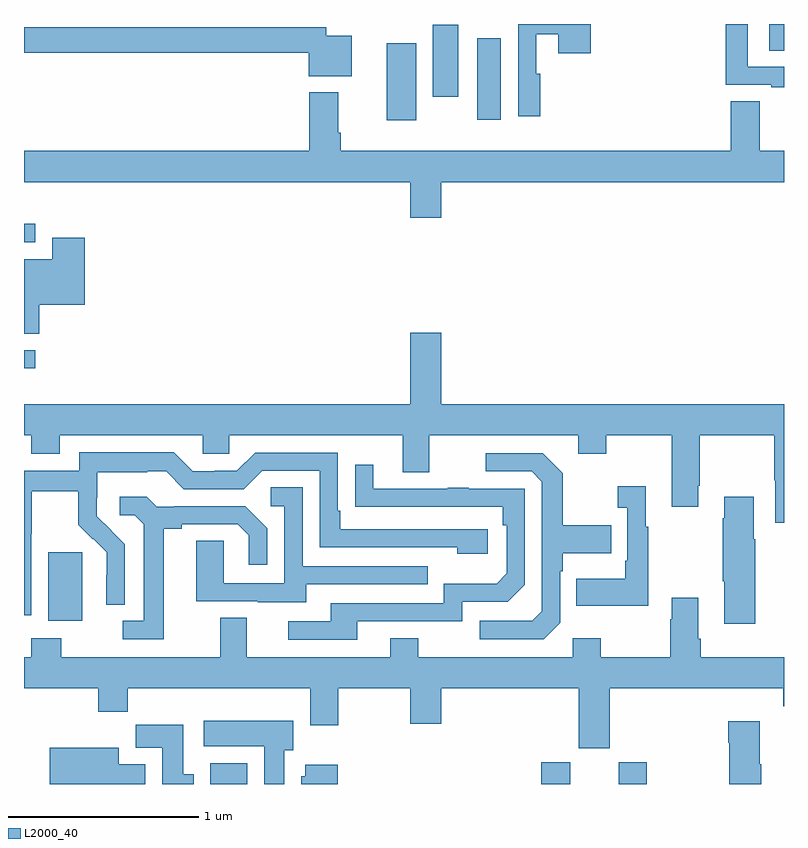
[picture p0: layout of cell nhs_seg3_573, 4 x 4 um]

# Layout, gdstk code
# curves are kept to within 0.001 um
import gdstk
lib = gdstk.Library(unit=1e-6, precision=1e-09)
def R(c, l, rs):  # rectangles x0, y0, x1, y1
    for r in rs: c.add(gdstk.rectangle(r[:2], r[2:], *l))
def P(c, l, *ps):  # polygons
    for p in ps: c.add(gdstk.Polygon(p, *l))
L2000_40 = (2000, 40)

nhs_seg3_573 = lib.new_cell('nhs_seg3_573')
R(nhs_seg3_573, L2000_40, [(139.979,712.4,140.176,712.51), (141.722,712.4,141.874,712.515), (142.13,712.4,142.278,712.515), (139.127,713.258,139.306,713.619), (139,714.588,139.06,714.684), (139,715.251,139.06,715.35), (140.909,715.893,141.064,716.299), (141.386,715.896,141.508,716.326), (141.152,716.016,141.286,716.396), (142.922,716.26,143,716.4)])
P(nhs_seg3_573, L2000_40, [(141.716,716.138),(141.696,716.138),(141.696,716.345),(141.812,716.345),(141.812,716.247),(141.983,716.247),(141.983,716.4),(141.6,716.4),(141.6,715.914),(141.716,715.914)],
  [(143,716.175),(142.809,716.175),(142.809,716.4),(142.693,716.4),(142.693,716.079),(142.934,716.079),(142.934,716.067),(143,716.067)],
  [(140.725,716.338),(140.592,716.338),(140.592,716.384),(139,716.384),(139,716.248),(140.498,716.248),(140.498,716.126),(140.725,716.126)],
  [(141.196,715.568),(143,715.568),(143,715.732),(142.873,715.732),(142.873,715.994),(142.721,715.994),(142.721,715.732),(140.666,715.732),(140.666,715.828),(140.653,715.828),(140.653,716.041),(140.501,716.041),(140.501,715.732),(139,715.732),(139,715.568),(141.032,715.568),(141.032,715.38),(141.196,715.38)],
  [(139.079,714.923),(139.319,714.923),(139.319,715.276),(139.148,715.276),(139.148,715.162),(139,715.162),(139,714.769),(139.079,714.769)],
  [(143,714.4),(141.196,714.4),(141.196,714.775),(141.032,714.775),(141.032,714.4),(139,714.4),(139,714.236),(139.037,714.236),(139.037,714.137),(139.189,714.137),(139.189,714.236),(139.941,714.236),(139.941,714.138),(140.079,714.138),(140.079,714.236),(140.993,714.236),(140.993,714.042),(141.133,714.042),(141.133,714.236),(141.917,714.236),(141.917,714.137),(142.065,714.137),(142.065,714.236),(142.409,714.236),(142.409,713.859),(142.549,713.859),(142.549,713.971),(142.557,713.971),(142.557,714.236),(142.948,714.236),(142.948,713.998),(142.955,713.998),(142.955,713.775),(143,713.775)],
  [(139.038,713.716),(139.041,713.716),(139.041,713.94),(139.285,713.94),(139.285,713.765),(139.362,713.688),(139.365,713.691),(139.436,713.621),(139.436,713.498),(139.434,713.498),(139.434,713.344),(139.53,713.344),(139.53,713.662),(139.384,713.81),(139.384,713.907),(139.386,713.907),(139.386,714.041),(139.649,714.041),(139.649,714.045),(139.749,714.045),(139.842,713.952),(140.157,713.952),(140.253,714.048),(140.556,714.048),(140.556,713.646),(141.281,713.646),(141.281,713.612),(141.442,713.612),(141.442,713.742),(140.665,713.742),(140.665,713.839),(140.652,713.839),(140.652,714.144),(140.217,714.144),(140.121,714.048),(140.003,714.048),(140.003,714.045),(139.887,714.045),(139.787,714.145),(139.29,714.145),(139.29,714.048),(139,714.048),(139,713.287),(139.038,713.287)],
  [(141.822,713.25),(141.822,713.519),(141.835,713.519),(141.835,713.615),(142.091,713.615),(142.091,713.763),(141.835,713.763),(141.835,714.035),(141.729,714.141),(141.429,714.141),(141.429,714.045),(141.672,714.045),(141.726,713.991),(141.726,713.31),(141.675,713.259),(141.399,713.259),(141.399,713.163),(141.735,713.163)],
  [(140.755,713.256),(141.306,713.256),(141.306,713.358),(141.546,713.358),(141.636,713.448),(141.636,713.955),(141.341,713.955),(141.341,713.96),(141.229,713.96),(141.229,713.955),(140.839,713.955),(140.839,714.079),(140.743,714.079),(140.743,713.86),(141.52,713.859),(141.52,713.762),(141.54,713.762),(141.54,713.508),(141.487,713.455),(141.21,713.455),(141.21,713.352),(140.615,713.352),(140.615,713.256),(140.391,713.256),(140.391,713.16),(140.755,713.16)],
  [(142.285,713.755),(142.273,713.755),(142.273,713.968),(142.125,713.968),(142.125,713.855),(142.176,713.855),(142.176,713.575),(142.164,713.575),(142.164,713.479),(141.907,713.479),(141.907,713.339),(142.285,713.339)],
  [(140.485,713.451),(141.125,713.451),(141.125,713.547),(140.466,713.547),(140.466,713.963),(140.298,713.963),(140.298,713.862),(140.37,713.862),(140.37,713.457),(140.052,713.457),(140.052,713.681),(139.907,713.681),(139.907,713.361),(140.231,713.361),(140.231,713.357),(140.485,713.357)],
  [(142.848,713.687),(142.84,713.687),(142.84,713.911),(142.685,713.911),(142.685,713.798),(142.678,713.798),(142.678,713.467),(142.685,713.467),(142.685,713.244),(142.848,713.244)],
  [(139.735,713.744),(139.831,713.744),(139.831,713.766),(140.126,713.766),(140.183,713.709),(140.183,713.553),(140.28,713.553),(140.28,713.746),(140.164,713.862),(139.792,713.862),(139.792,713.859),(139.698,713.859),(139.646,713.911),(139.503,713.911),(139.503,713.814),(139.584,713.814),(139.631,713.767),(139.631,713.259),(139.521,713.259),(139.521,713.163),(139.735,713.163)],
  [(142.084,712.904),(142.997,712.904),(142.997,712.808),(143,712.808),(143,713.068),(142.562,713.068),(142.562,713.164),(142.549,713.164),(142.549,713.38),(142.409,713.38),(142.409,713.267),(142.402,713.267),(142.402,713.068),(142.035,713.068),(142.035,713.167),(141.888,713.167),(141.888,713.068),(141.075,713.068),(141.075,713.167),(140.927,713.167),(140.927,713.068),(140.173,713.068),(140.173,713.276),(140.033,713.276),(140.033,713.068),(139.197,713.068),(139.197,713.167),(139.037,713.167),(139.037,713.068),(139,713.068),(139,712.904),(139.391,712.904),(139.391,712.78),(139.547,712.78),(139.547,712.904),(140.507,712.904),(140.507,712.71),(140.655,712.71),(140.655,712.904),(141.032,712.904),(141.032,712.716),(141.196,712.716),(141.196,712.904),(141.92,712.904),(141.92,712.587),(142.084,712.587)],
  [(140.371,712.578),(140.416,712.578),(140.416,712.732),(139.947,712.732),(139.947,712.598),(140.264,712.598),(140.264,712.4),(140.371,712.4)],
  [(142.881,712.505),(142.873,712.505),(142.873,712.729),(142.706,712.729),(142.706,712.616),(142.711,712.616),(142.711,712.4),(142.881,712.4)],
  [(139.894,712.452),(139.837,712.452),(139.837,712.711),(139.588,712.711),(139.588,712.592),(139.727,712.592),(139.727,712.4),(139.894,712.4)],
  [(139.639,712.504),(139.498,712.504),(139.498,712.591),(139.136,712.591),(139.136,712.4),(139.639,712.4)],
  [(140.651,712.501),(140.48,712.501),(140.48,712.44),(140.459,712.44),(140.459,712.4),(140.651,712.4)])

lib.write_gds('nhs_seg3_573.gds')
